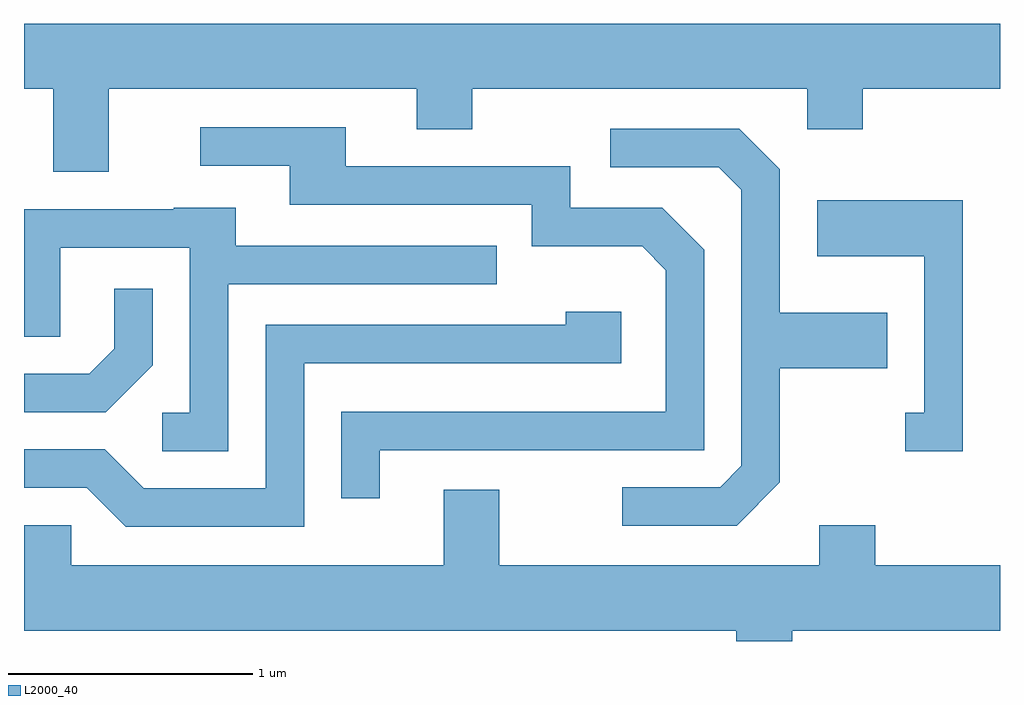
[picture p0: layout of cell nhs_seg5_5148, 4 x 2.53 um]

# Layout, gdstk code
import gdstk
lib = gdstk.Library(unit=1e-6, precision=1e-09)
def P(c, l, *ps):  # polygons
    for p in ps: c.add(gdstk.Polygon(p, *l))
L2000_40 = (2000, 40)

nhs_seg5_5148 = lib.new_cell('nhs_seg5_5148')
P(nhs_seg5_5148, L2000_40, [(337.959,1472.336),(339.221,1472.336),(339.221,1472.171),(339.449,1472.171),(339.449,1472.336),(340.821,1472.336),(340.821,1472.171),(341.049,1472.171),(341.049,1472.336),(341.611,1472.336),(341.611,1472.604),(337.611,1472.604),(337.611,1472.336),(337.731,1472.336),(337.731,1471.996),(337.959,1471.996)],
  [(339.069,1470.856),(340.399,1470.856),(340.399,1471.677),(340.227,1471.849),(339.849,1471.849),(339.849,1472.019),(338.929,1472.019),(338.929,1472.179),(338.333,1472.179),(338.333,1472.021),(338.701,1472.021),(338.701,1471.861),(339.691,1471.861),(339.691,1471.691),(340.144,1471.691),(340.241,1471.594),(340.241,1471.014),(338.911,1471.014),(338.911,1470.658),(339.069,1470.658)],
  [(340.709,1470.724),(340.709,1471.191),(341.149,1471.191),(341.149,1471.419),(340.709,1471.419),(340.709,1472.007),(340.542,1472.174),(340.013,1472.174),(340.013,1472.016),(340.459,1472.016),(340.551,1471.924),(340.551,1470.792),(340.464,1470.704),(340.063,1470.704),(340.063,1470.546),(340.532,1470.546)],
  [(341.459,1471.879),(340.861,1471.879),(340.861,1471.651),(341.301,1471.651),(341.301,1471.009),(341.223,1471.009),(341.223,1470.851),(341.459,1470.851)],
  [(338.449,1471.536),(339.548,1471.536),(339.548,1471.694),(338.479,1471.694),(338.479,1471.849),(338.225,1471.849),(338.225,1471.844),(337.611,1471.844),(337.611,1471.321),(337.759,1471.321),(337.759,1471.686),(338.291,1471.686),(338.291,1471.009),(338.178,1471.009),(338.178,1470.851),(338.449,1470.851)],
  [(338.139,1471.204),(338.139,1471.518),(337.981,1471.518),(337.981,1471.272),(337.879,1471.169),(337.611,1471.169),(337.611,1471.011),(337.947,1471.011)],
  [(338.759,1471.211),(340.059,1471.211),(340.059,1471.424),(339.831,1471.424),(339.831,1471.369),(338.601,1471.369),(338.601,1470.699),(338.102,1470.699),(337.942,1470.859),(337.611,1470.859),(337.611,1470.701),(337.869,1470.701),(338.029,1470.541),(338.759,1470.541)],
  [(340.759,1470.116),(341.611,1470.116),(341.611,1470.384),(341.099,1470.384),(341.099,1470.549),(340.871,1470.549),(340.871,1470.384),(339.559,1470.384),(339.559,1470.694),(339.331,1470.694),(339.331,1470.384),(337.804,1470.384),(337.804,1470.549),(337.611,1470.549),(337.611,1470.116),(340.531,1470.116),(340.531,1470.072),(340.759,1470.072)])

lib.write_gds('nhs_seg5_5148.gds')
